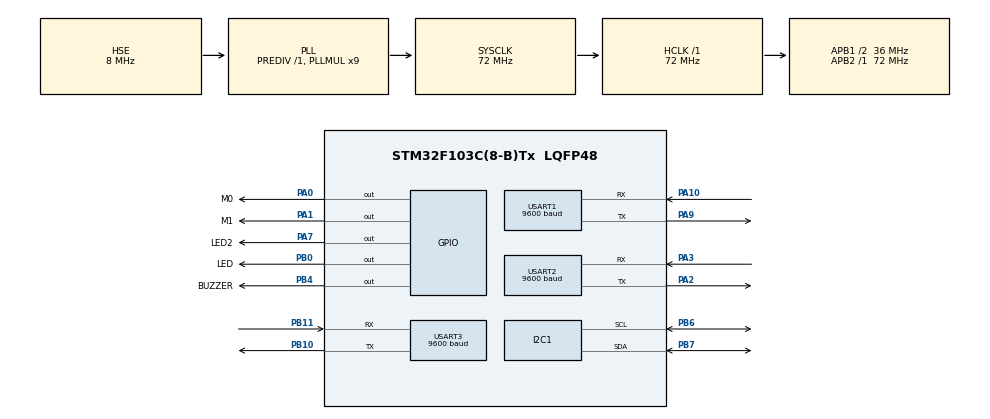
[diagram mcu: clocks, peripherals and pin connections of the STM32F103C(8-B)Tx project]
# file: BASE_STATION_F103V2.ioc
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Mcu.Family=STM32F1
Mcu.Name=STM32F103C(8-B)Tx
Mcu.Package=LQFP48
NVIC.PriorityGroup=NVIC_PRIORITYGROUP_4
NVIC.TIM3_IRQn=true\:0\:0\:false\:false\:true\:true\:true
NVIC.USART1_IRQn=true\:0\:0\:false\:false\:true\:true\:true
NVIC.USART2_IRQn=true\:0\:0\:false\:false\:true\:true\:true
NVIC.USART3_IRQn=true\:0\:0\:false\:false\:true\:true\:true
PA0-WKUP.GPIO_Label=M0
PA0-WKUP.Signal=GPIO_Output
PA1.GPIO_Label=M1
PA1.Signal=GPIO_Output
PA10.Mode=Asynchronous
PA10.Signal=USART1_RX
PA13.Mode=Serial_Wire
PA13.Signal=SYS_JTMS-SWDIO
PA14.Mode=Serial_Wire
PA14.Signal=SYS_JTCK-SWCLK
PA2.Mode=Asynchronous
PA2.Signal=USART2_TX
PA3.Mode=Asynchronous
PA3.Signal=USART2_RX
PA7.GPIO_Label=LED2
PA7.Signal=GPIO_Output
PA9.Mode=Asynchronous
PA9.Signal=USART1_TX
PB0.GPIO_Label=LED
PB0.Signal=GPIO_Output
PB10.Mode=Asynchronous
PB10.Signal=USART3_TX
PB11.Mode=Asynchronous
PB11.Signal=USART3_RX
PB4.GPIO_Label=BUZZER
PB4.Signal=GPIO_Output
PB6.Mode=I2C
PB6.Signal=I2C1_SCL
PB7.Mode=I2C
PB7.Signal=I2C1_SDA
PD0-OSC_IN.Mode=HSE-External-Oscillator
PD0-OSC_IN.Signal=RCC_OSC_IN
PD1-OSC_OUT.Mode=HSE-External-Oscillator
PD1-OSC_OUT.Signal=RCC_OSC_OUT
ProjectManager.HeapSize=0x200
ProjectManager.StackSize=0x400
ProjectManager.TargetToolchain=STM32CubeIDE
RCC.AHBFreq_Value=72000000
RCC.APB1CLKDivider=RCC_HCLK_DIV2
RCC.APB1Freq_Value=36000000
RCC.APB1TimFreq_Value=72000000
RCC.APB2Freq_Value=72000000
RCC.APB2TimFreq_Value=72000000
RCC.HCLKFreq_Value=72000000
RCC.PLLMUL=RCC_PLL_MUL9
RCC.PLLSourceVirtual=RCC_PLLSOURCE_HSE
RCC.SYSCLKFreq_VALUE=72000000
RCC.SYSCLKSource=RCC_SYSCLKSOURCE_PLLCLK
RCC.USBFreq_Value=72000000
TIM3.Period=69
TIM3.Prescaler=35999
USART1.BaudRate=9600
USART1.VirtualMode=VM_ASYNC
USART2.BaudRate=9600
USART2.VirtualMode=VM_ASYNC
USART3.BaudRate=9600
USART3.VirtualMode=VM_ASYNC
VP_TIM3_VS_ClockSourceINT.Mode=Internal
board=custom

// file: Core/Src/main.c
/* USER CODE BEGIN Header */
/**
  ******************************************************************************
  * @file           : main.c
  * @brief          : Main program body
  ******************************************************************************
  * @attention
  *
  * <h2><center>&copy; Copyright (c) 2021 STMicroelectronics.
  * All rights reserved.</center></h2>
  *
  * This software component is licensed by ST under BSD 3-Clause license,
  * the "License"; You may not use this file except in compliance with the
  * License. You may obtain a copy of the License at:
  *                        opensource.org/licenses/BSD-3-Clause
  *
  ******************************************************************************
  */
/* USER CODE END Header */
#include "main.h"

/* USER CODE BEGIN Includes */
#include "MAGNETO.h"
#include "stdio.h"
#include "math.h"
#include "string.h"
#include <stdlib.h>
#include "MPU-6050.h"
#include "nextion.h"
/* USER CODE END Includes */

/* USER CODE BEGIN PTD */
void Data_Parsing(void);
void Data_Convert(void);
void Data_ToNextion(void);
double deg2rad(float deg);
float Cal_distGPS(float lat, float lng, float ground_latt, float ground_lngg);
void finding_maxmin(void);
double rad2deg(float rad);
float GetAngle(float lat, float lng, float ground_latt, float ground_lngg);
float calcoor(float x);

char RX1_BUF[100] = {0};
char LAT[9] = {0};
char LONG[10] = {0};
char COOR[25] = {0};
char TIME[10] = {0};

float ground_lat = .0;
float ground_lng = .0;
int time = 0;

extern uint8_t c1;
extern uint8_t gps_size;

#define cal_num 150
float compass_val = .0;
float X = .0, Y = .0, Z = .0;
extern float ground_lat;
extern float ground_lng;
float EPH_lat = .0;
float EPH_lng = .0;
float PL_lat = .0;
float PL_lng = .0;

float R = 6378.1; // Radius of the earth in km
float dLat = .0; // deg2rad below
float dLon = .0;
float a = .0;
float c = .0;
float d = .0; // Distance in km
float distance = .0;
float EPH_distance = .0;
float PL_distance = .0;
float EPH_Angle = .0;
float PL_Angle = .0;

uint8_t mgn = 0;
uint8_t recal = 0;
uint8_t stop = 0;
uint8_t newrecord = 0;
uint8_t pause = 0;
uint8_t cont = 0;

extern uint8_t gps;

char ID = '\0';
char sn[2] = {0};
char lat1[10] = {0};
char lng1[10] = {0};
char alt[7] = {0};
char vlc[6] = {0};
char rollpitch[13] = {0};
char apg[1] = {0};
char mn[1] = {0};
uint8_t fall = 0;
uint8_t cal_dis = 0;
uint8_t GS_LC = 0;

extern uint32_t SystemCoreClock;
uint32_t Systemlock = 0;

float vlcf = .0, altf = .0;
int alti = 0, vlci = 0, EPHmax_alti = 0, EPHmax_vlci = 0 , EPHmin_vlci = 0, PLmax_alti = 0, PLmax_vlci = 0 , PLmin_vlci = 0;
int EPHalti = 0, EPHvlci = 0, PLalti = 0, PLvlci = 0, PLmin_alti = 1000, EPHmin_alti = 1000;
// PLmin_alti  EPHmin_alti

int16_t speedometer = 0;
/* USER CODE END PTD */

/* USER CODE BEGIN PD */
char RX2_BUF[80] = {0};
char NEXT_BUFF[100] = { 0 };
uint8_t RX2 = 0;

uint8_t ADDH = 0x6;
uint8_t ADDL = 0x4A;
uint8_t CHN = 0xA;
uint8_t MODE = 1;

void LORA_READ_PARAMETER(void);
void LORA_CONFG(uint8_t ADDH, uint8_t ADDL, uint8_t CHN, uint8_t MODE);
/* USER CODE END PD */

I2C_HandleTypeDef hi2c1;

TIM_HandleTypeDef htim3;

UART_HandleTypeDef huart1;
UART_HandleTypeDef huart2;
UART_HandleTypeDef huart3;

void SystemClock_Config(void);
static void MX_GPIO_Init(void);
static void MX_I2C1_Init(void);
static void MX_USART1_UART_Init(void);
static void MX_USART2_UART_Init(void);
static void MX_USART3_UART_Init(void);
static void MX_TIM3_Init(void);

int main(void)
{

  /* MCU Configuration--------------------------------------------------------*/

  /* Reset of all peripherals, Initializes the Flash interface and the Systick. */
  HAL_Init();

  /* Configure the system clock */
  SystemClock_Config();

  /* Initialize all configured peripherals */
  MX_GPIO_Init();
  MX_I2C1_Init();
  MX_USART1_UART_Init();
  MX_USART2_UART_Init();
  MX_USART3_UART_Init();
  MX_TIM3_Init();
  /* USER CODE BEGIN 2 */
  LORA_READ_PARAMETER();
    LORA_CONFG( ADDH, ADDL, CHN, MODE); // HIGH ADDRESS, LOW ADDRESS, CHANNEL, MODE (0 : TRANSPARENT, 1 : FIXED)
    MPU6050_Init();
    for(uint8_t i = 0 ; i < 8 ; i++){
  	  HAL_GPIO_TogglePin(GPIOB, GPIO_PIN_4);
  	  HAL_Delay(50);
    }
    //magneto_Init(cal_num);
    __HAL_UART_ENABLE_IT(&huart3, UART_IT_RXNE);
    HAL_TIM_Base_Start_IT(&htim3);
    __HAL_UART_ENABLE_IT(&huart2, UART_IT_RXNE);
   __HAL_UART_ENABLE_IT(&huart1, UART_IT_RXNE);
  /* USER CODE END 2 */

  /* Infinite loop */
  while (1)
  {

    /* USER CODE BEGIN 3 */
		if (mgn == 1) {
			compass_val = Read_compass();
			//NXT_SEND("t0", compass_val);
			NXT_SEND_VAL("page2.z0.val", (uint32_t) compass_val);
			compass_val -= 90;
			if (compass_val < 0)
				compass_val += 360;
			NXT_SEND_TXT("page2.t7.txt", (uint16_t) compass_val);
			mgn = 0;
		}
		if (recal == 1) {
			magneto_Init(cal_num);
			recal = 0;
		}
		if (RX2 == 1) {

			RX2 = 0;
			uint8_t m = 0;
			uint8_t go = 0;
			for (uint8_t k = 0; k < sizeof(RX2_BUF); k++) {
				if (RX2_BUF[k] == ':' && go == 0) {
					go = 1;
				}
				if (go == 1) {
					NEXT_BUFF[m] = RX2_BUF[k - 1];
					m++;
				}
				if (go == 1 && RX2_BUF[k] == '\n')
					break;
			}
			//if(NEXT_BUFF[0] != '\0' || NEXT_BUFF[1] || '\0' || NEXT_BUFF[2] != '\0')
			NXT_SEND_TXTBX("page1.t12.txt", NEXT_BUFF);

			for (uint8_t i = 0; i < sizeof(RX2_BUF); i++)
				RX2_BUF[i] = '\0';
			Data_Parsing();
		}
		if (cal_dis == 1) {
			if (ground_lat == .0 && ground_lng == .0) {
				NXT_SEND_TXTBX("page2.t4.txt", "veri yok");
				NXT_SEND_TXTBX("page2.t6.txt", "veri yok");
			} else if (EPH_lat == .0 && EPH_lng == .0) {
				NXT_SEND_TXTBX("page2.t4.txt", "veri yok");
			} else {
				EPH_distance = Cal_distGPS(EPH_lat, EPH_lng, ground_lat,
						ground_lng);
				EPH_Angle = GetAngle(EPH_lat, EPH_lng, ground_lat, ground_lng);
				NXT_SEND_VALFLOAT("page2.t4.txt", EPH_distance);
				NXT_SEND_VALFLOAT("page2.t3.txt", EPH_Angle);
				EPH_Angle += 90.0;
				if (EPH_Angle > 360) {
					EPH_Angle -= 360;
				}
				NXT_SEND_VAL("page2.z1.val", (uint32_t) EPH_Angle);
			}
			if ((PL_lat == .0 && PL_lng == .0) || GS_LC == 1) {
				NXT_SEND_TXTBX("page2.t6.txt", "veri yok");
			} else {
				PL_distance = Cal_distGPS(PL_lat, PL_lng, ground_lat,
						ground_lng);
				PL_Angle = GetAngle(PL_lat, PL_lng, ground_lat, ground_lng);
				NXT_SEND_VALFLOAT("page2.t6.txt", PL_distance);
				NXT_SEND_VALFLOAT("page2.t5.txt", PL_Angle);
				PL_Angle += 90.0;
				if (PL_Angle > 360) {
					PL_Angle -= 360;
				}
				NXT_SEND_VAL("page2.z2.val", (uint32_t) PL_Angle);
			}

			cal_dis = 0;
		}
		if (gps == 1) {
			for (uint8_t i = 0; i < gps_size; i++) {
				if (RX1_BUF[i] == '$' && RX1_BUF[i + 1] == 'G'
						&& RX1_BUF[i + 2] == 'P' && RX1_BUF[i + 3] == 'G'
						&& RX1_BUF[i + 4] == 'G' && RX1_BUF[i + 5] == 'A'
						&& RX1_BUF[i + 6] == ',') {
					uint8_t v = 0, pos1 = 0, pos2 = 0, pos3 = 0, pos4 = 0,
							pos5 = 0, ok1 = 0, ok2 = 0, ok3 = 0, ok4 = 0;
					for (uint8_t n = 0; n < sizeof(RX1_BUF); n++) {
						if (RX1_BUF[n] == ',' && n > i + 5)
							v++;
						if (v == 1 && ok1 == 0) {
							pos1 = n;
							ok1 = 1;
						}
						if (v == 2 && ok2 == 0) {
							pos2 = n;
							for (uint8_t count = 0; count < pos2 - pos1;
									count++)
								TIME[count] = RX1_BUF[pos1 + count + 1];
							ok2 = 1;
						}
						if (v == 3 && ok3 == 0) {
							pos3 = n;
							for (uint8_t count = 0; count < pos3 - pos2;
									count++)
								LAT[count] = RX1_BUF[pos2 + count + 1];
							ok3 = 1;
						}
						if (v == 4 && ok4 == 0) {
							pos4 = n;
							ok4 = 1;
						}
						if (v == 5) {
							pos5 = n;
							for (uint8_t count2 = 0; count2 < pos5 - pos4;
									count2++)
								LONG[count2] = RX1_BUF[pos4 + count2 + 1];

							strcpy(TIME, TIME);
							strcpy(LAT, LAT);
							strcpy(LONG, LONG);
							time = atof(TIME);
							ground_lat = calcoor(atof(LAT));
							ground_lng = calcoor(atof(LONG));
							sprintf(COOR, ":%2.7f:%2.7f\n", ground_lat,
									ground_lng);
							/*HAL_UART_Transmit(&huart3, (uint8_t*) COOR,
							 sizeof(COOR), 1000);*/
							uint32_t lat0next = 0;
							uint32_t lng0next = 0;
							lat0next = (uint32_t) (ground_lat * 10000000.0);
							lng0next = (uint32_t) (ground_lng * 10000000.0);
							NXT_SEND_VAL("page1.x8.val", lat0next);
							NXT_SEND_VAL("page1.x9.val", lng0next);
							cal_dis = 1;
							for (uint8_t c = 0; c < sizeof(RX1_BUF); c++)
								RX1_BUF[c] = '\0';
							break;
						}
					}
					break;
				}
			}
			gps_size = 0;
			gps = 0;
		}
	}
  /* USER CODE END 3 */
}

void SystemClock_Config(void)
{
  RCC_OscInitTypeDef RCC_OscInitStruct = {0};
  RCC_ClkInitTypeDef RCC_ClkInitStruct = {0};

  /** Initializes the RCC Oscillators according to the specified parameters
  * in the RCC_OscInitTypeDef structure.
  */
  RCC_OscInitStruct.OscillatorType = RCC_OSCILLATORTYPE_HSE;
  RCC_OscInitStruct.HSEState = RCC_HSE_ON;
  RCC_OscInitStruct.HSEPredivValue = RCC_HSE_PREDIV_DIV1;
  RCC_OscInitStruct.HSIState = RCC_HSI_ON;
  RCC_OscInitStruct.PLL.PLLState = RCC_PLL_ON;
  RCC_OscInitStruct.PLL.PLLSource = RCC_PLLSOURCE_HSE;
  RCC_OscInitStruct.PLL.PLLMUL = RCC_PLL_MUL9;
  if (HAL_RCC_OscConfig(&RCC_OscInitStruct) != HAL_OK)
  {
    Error_Handler();
  }
  /** Initializes the CPU, AHB and APB buses clocks
  */
  RCC_ClkInitStruct.ClockType = RCC_CLOCKTYPE_HCLK|RCC_CLOCKTYPE_SYSCLK
                              |RCC_CLOCKTYPE_PCLK1|RCC_CLOCKTYPE_PCLK2;
  RCC_ClkInitStruct.SYSCLKSource = RCC_SYSCLKSOURCE_PLLCLK;
  RCC_ClkInitStruct.AHBCLKDivider = RCC_SYSCLK_DIV1;
  RCC_ClkInitStruct.APB1CLKDivider = RCC_HCLK_DIV2;
  RCC_ClkInitStruct.APB2CLKDivider = RCC_HCLK_DIV1;

  if (HAL_RCC_ClockConfig(&RCC_ClkInitStruct, FLASH_LATENCY_2) != HAL_OK)
  {
    Error_Handler();
  }
}

static void MX_I2C1_Init(void)
{

  hi2c1.Instance = I2C1;
  hi2c1.Init.ClockSpeed = 100000;
  hi2c1.Init.DutyCycle = I2C_DUTYCYCLE_2;
  hi2c1.Init.OwnAddress1 = 0;
  hi2c1.Init.AddressingMode = I2C_ADDRESSINGMODE_7BIT;
  hi2c1.Init.DualAddressMode = I2C_DUALADDRESS_DISABLE;
  hi2c1.Init.OwnAddress2 = 0;
  hi2c1.Init.GeneralCallMode = I2C_GENERALCALL_DISABLE;
  hi2c1.Init.NoStretchMode = I2C_NOSTRETCH_DISABLE;
  if (HAL_I2C_Init(&hi2c1) != HAL_OK)
  {
    Error_Handler();
  }

}

static void MX_TIM3_Init(void)
{

  TIM_ClockConfigTypeDef sClockSourceConfig = {0};
  TIM_MasterConfigTypeDef sMasterConfig = {0};

  htim3.Instance = TIM3;
  htim3.Init.Prescaler = 35999;
  htim3.Init.CounterMode = TIM_COUNTERMODE_UP;
  htim3.Init.Period = 69;
  htim3.Init.ClockDivision = TIM_CLOCKDIVISION_DIV1;
  htim3.Init.AutoReloadPreload = TIM_AUTORELOAD_PRELOAD_DISABLE;
  if (HAL_TIM_Base_Init(&htim3) != HAL_OK)
  {
    Error_Handler();
  }
  sClockSourceConfig.ClockSource = TIM_CLOCKSOURCE_INTERNAL;
  if (HAL_TIM_ConfigClockSource(&htim3, &sClockSourceConfig) != HAL_OK)
  {
    Error_Handler();
  }
  sMasterConfig.MasterOutputTrigger = TIM_TRGO_RESET;
  sMasterConfig.MasterSlaveMode = TIM_MASTERSLAVEMODE_DISABLE;
  if (HAL_TIMEx_MasterConfigSynchronization(&htim3, &sMasterConfig) != HAL_OK)
  {
    Error_Handler();
  }

}

static void MX_USART1_UART_Init(void)
{

  huart1.Instance = USART1;
  huart1.Init.BaudRate = 9600;
  huart1.Init.WordLength = UART_WORDLENGTH_8B;
  huart1.Init.StopBits = UART_STOPBITS_1;
  huart1.Init.Parity = UART_PARITY_NONE;
  huart1.Init.Mode = UART_MODE_TX_RX;
  huart1.Init.HwFlowCtl = UART_HWCONTROL_NONE;
  huart1.Init.OverSampling = UART_OVERSAMPLING_16;
  if (HAL_UART_Init(&huart1) != HAL_OK)
  {
    Error_Handler();
  }

}

static void MX_USART2_UART_Init(void)
{

  huart2.Instance = USART2;
  huart2.Init.BaudRate = 9600;
  huart2.Init.WordLength = UART_WORDLENGTH_8B;
  huart2.Init.StopBits = UART_STOPBITS_1;
  huart2.Init.Parity = UART_PARITY_NONE;
  huart2.Init.Mode = UART_MODE_TX_RX;
  huart2.Init.HwFlowCtl = UART_HWCONTROL_NONE;
  huart2.Init.OverSampling = UART_OVERSAMPLING_16;
  if (HAL_UART_Init(&huart2) != HAL_OK)
  {
    Error_Handler();
  }

}

static void MX_USART3_UART_Init(void)
{

  huart3.Instance = USART3;
  huart3.Init.BaudRate = 9600;
  huart3.Init.WordLength = UART_WORDLENGTH_8B;
  huart3.Init.StopBits = UART_STOPBITS_1;
  huart3.Init.Parity = UART_PARITY_NONE;
  huart3.Init.Mode = UART_MODE_TX_RX;
  huart3.Init.HwFlowCtl = UART_HWCONTROL_NONE;
  huart3.Init.OverSampling = UART_OVERSAMPLING_16;
  if (HAL_UART_Init(&huart3) != HAL_OK)
  {
    Error_Handler();
  }

}

static void MX_GPIO_Init(void)
{
  GPIO_InitTypeDef GPIO_InitStruct = {0};

  /* GPIO Ports Clock Enable */
  __HAL_RCC_GPIOD_CLK_ENABLE();
  __HAL_RCC_GPIOA_CLK_ENABLE();
  __HAL_RCC_GPIOB_CLK_ENABLE();

  /*Configure GPIO pin Output Level */
  HAL_GPIO_WritePin(GPIOA, M0_Pin|M1_Pin|LED2_Pin, GPIO_PIN_RESET);

  /*Configure GPIO pin Output Level */
  HAL_GPIO_WritePin(GPIOB, LED_Pin|BUZZER_Pin, GPIO_PIN_RESET);

  /*Configure GPIO pins : M0_Pin M1_Pin LED2_Pin */
  GPIO_InitStruct.Pin = M0_Pin|M1_Pin|LED2_Pin;
  GPIO_InitStruct.Mode = GPIO_MODE_OUTPUT_PP;
  GPIO_InitStruct.Pull = GPIO_NOPULL;
  GPIO_InitStruct.Speed = GPIO_SPEED_FREQ_LOW;
  HAL_GPIO_Init(GPIOA, &GPIO_InitStruct);

  /*Configure GPIO pins : LED_Pin BUZZER_Pin */
  GPIO_InitStruct.Pin = LED_Pin|BUZZER_Pin;
  GPIO_InitStruct.Mode = GPIO_MODE_OUTPUT_PP;
  GPIO_InitStruct.Pull = GPIO_NOPULL;
  GPIO_InitStruct.Speed = GPIO_SPEED_FREQ_LOW;
  HAL_GPIO_Init(GPIOB, &GPIO_InitStruct);

}

/* USER CODE BEGIN 4 */
void LORA_CONFG(uint8_t ADDH, uint8_t ADDL, uint8_t CHN, uint8_t MODE)
{
	HAL_GPIO_WritePin(GPIOA, GPIO_PIN_0, SET);
	HAL_GPIO_WritePin(GPIOA, GPIO_PIN_1, SET);
	HAL_Delay(50);

	char cfg_buff[6] = {0};
	enum lora{Transparent, Fixed} mode;
	mode = MODE;

	cfg_buff[0] = 0xC0;  // header for saving paramater when power down C0
	cfg_buff[1] = ADDH;  // high address
	cfg_buff[2] = ADDL;  // low address
	cfg_buff[3] = 0x19;  // SPED (parity, baud, data rate)
	cfg_buff[4] = CHN;   // channel

	switch(mode){
	case Transparent:
		cfg_buff[5] = 0x44;  // option
		break;
	case Fixed:
		cfg_buff[5] = 0xC4;  // option
		break;
	default:
		cfg_buff[5] = 0x44;  // option
	}

	HAL_UART_Transmit(&huart2, (uint8_t*) cfg_buff, 6, 1000);

	HAL_Delay(25);
	HAL_GPIO_WritePin(GPIOA, GPIO_PIN_0, RESET);
	HAL_GPIO_WritePin(GPIOA, GPIO_PIN_1, RESET);
	HAL_Delay(25);
}

void LORA_READ_PARAMETER()
{
	HAL_GPIO_WritePin(GPIOA, GPIO_PIN_0, SET);
	HAL_GPIO_WritePin(GPIOA, GPIO_PIN_1, SET);
	HAL_Delay(50);

	char buff_read[6] = {0};
	buff_read[0] = 0xC1;
	buff_read[1] = 0xC1;
	buff_read[2] = 0xC1;

	HAL_UART_Transmit(&huart2, (uint8_t*) buff_read, 3, 1000);
	HAL_UART_Receive(&huart2, (uint8_t*) buff_read, 6, 1000);

	HAL_Delay(25);
	HAL_GPIO_WritePin(GPIOA, GPIO_PIN_0, RESET);
	HAL_GPIO_WritePin(GPIOA, GPIO_PIN_1, RESET);
	HAL_Delay(25);
}

void Data_Parsing(void) {
	uint8_t first = 0, second = 0, countstr = 0;
	for (uint8_t i = 0; i < sizeof(NEXT_BUFF); i++) {
		if (NEXT_BUFF[i] == ':') {
			first = second;
			second = i;
			countstr++;
			uint8_t countstr1 = 0;
			for (first++; first < second; first++) {
				switch (countstr) {
				case 2:
					sn[countstr1] = NEXT_BUFF[first];
					countstr1++;
					break;
				case 3:
					lat1[countstr1] = NEXT_BUFF[first];
					countstr1++;
					break;
				case 4:
					lng1[countstr1] = NEXT_BUFF[first];
					countstr1++;
					break;
				case 5:
					alt[countstr1] = NEXT_BUFF[first];
					countstr1++;
					break;
				case 6:
					vlc[countstr1] = NEXT_BUFF[first];
					countstr1++;
					break;
				case 7:
					rollpitch[countstr1] = NEXT_BUFF[first];
					countstr1++;
					break;
				case 8:
					apg[countstr1] = NEXT_BUFF[first];
					countstr1++;
					break;
				case 9:
					mn[countstr1] = NEXT_BUFF[first];
					countstr1++;
					break;
				}
			}
		}
	}

	ID = NEXT_BUFF[0];

	Data_Convert();
	for (uint8_t i = 0; i < sizeof(NEXT_BUFF); i++)
		NEXT_BUFF[i] = '\0';
}

void Data_Convert(void) {
	//finding_maxmin();

	if (ID == '0') {
		strcpy(lat1, lat1);
		strcpy(lng1, lng1);
		EPH_lat = atof(lat1);
		EPH_lng = atof(lng1);
	} else if (ID == '1') {
		strcpy(lat1, lat1);
		strcpy(lng1, lng1);
		PL_lat = atof(lat1);
		PL_lng = atof(lng1);
	}

	if(vlcf < 0){
		vlcf *= -1;
		fall = 1;
	}else fall = 0;

	speedometer = 336 + (int16_t)((vlcf / 300.0) * 225);
	if(speedometer > 360) speedometer -= 360;

	Data_ToNextion();
}

void Data_ToNextion(void) {

	if (EPH_lat != .0 && EPH_lng != .0) {	// EPHEMERISH son enlem, boylam verileri
		NXT_SEND_TXTBX("page3.t34.txt", lat1);
		NXT_SEND_TXTBX("page3.t35.txt", lng1);
	}
	if (PL_lat != .0 && PL_lng != .0) {		// PAYLOAD son enlem, boylam verileri
		NXT_SEND_TXTBX("page3.t36.txt", lat1);
		NXT_SEND_TXTBX("page3.t37.txt", lng1);
	}

	if (ID == '1') {
		NXT_SEND_TXTBX("page1.t14.txt", lat1);
		NXT_SEND_TXTBX("page1.t15.txt", lng1);
		NXT_SEND_TXTBX("page1.t16.txt", alt);

		NXT_SEND_SVAL("page3.x6.val", PLmax_vlci);
		NXT_SEND_SVAL("page3.x7.val", PLmin_vlci);
		NXT_SEND_SVAL("page3.x5.val", PLmax_alti);
		NXT_SEND_SVAL("page3.x11.val", PLmin_alti);

		NXT_SEND_SVAL("page1.c1.val", 1);
		NXT_SEND_SVAL("page1.c0.val", 0);
		NXT_SEND_SVAL("page1.z3.val", speedometer);
		if (fall == 1) {
			NXT_SEND_SVAL("page1.z3.pco", 31);
		} else {
			NXT_SEND_SVAL("page1.z3.pco", 63488);
		}

		NXT_SEND_SVAL("page1.x1.val", vlci);

	} else if (ID == '0') {
		NXT_SEND_TXTBX("page1.t8.txt", lat1);
		NXT_SEND_TXTBX("page1.t9.txt", lng1);
		NXT_SEND_TXTBX("page1.t13.txt", alt);

		NXT_SEND_SVAL("page3.x3.val", EPHmax_vlci);
		NXT_SEND_SVAL("page3.x4.val", EPHmin_vlci);
		NXT_SEND_SVAL("page3.x2.val", EPHmax_alti);
		NXT_SEND_SVAL("page3.x10.val", EPHmin_alti);  // PLmin_alti  EPHmin_alti

		NXT_SEND_SVAL("page1.c1.val", 0);
		NXT_SEND_SVAL("page1.c0.val", 1);
		NXT_SEND_SVAL("page1.z4.val", speedometer);
		if (fall == 1) {
			NXT_SEND_SVAL("page1.z4.pco", 31);
		} else {
			NXT_SEND_SVAL("page1.z4.pco", 63488);
		}

		NXT_SEND_SVAL("page1.x0.val", vlci);

		if (*apg == '1') {
			NXT_SEND_SVAL("page1.t10.bco", 63488);
		}
		if (*mn == '1') {
			NXT_SEND_SVAL("page1.t11.bco", 63488);
		}

	}

	ID = '\0';

}

void finding_maxmin(void) {
	strcpy(vlc, vlc);
	vlcf = atof(vlc);
	vlci = (int) (vlcf * 100.0);
	strcpy(alt, alt);
	altf = atof(alt);
	alti = (int) (altf * 100.0);
	if (ID == '0') {
		if (vlci > EPHmax_vlci)
			EPHmax_vlci = vlci;
		if (vlci < EPHmin_vlci)
			EPHmin_vlci = vlci;
		if (alti > EPHmax_alti)
			EPHmax_alti = alti;
		if (alti < EPHmin_alti)
			EPHmin_alti = alti;
	}
	else if (ID == '1') {
		if (vlci > PLmax_vlci)
			PLmax_vlci = vlci;
		if (vlci < PLmin_vlci)
			PLmin_vlci = vlci;
		if (alti > PLmax_alti)
			PLmax_alti = alti;
		if (alti < PLmin_alti)
			PLmin_alti = alti;
	}
}

double deg2rad(float deg) {
	double pi = 2 * acos(0.0);
	return deg * (pi / 180);
}

double rad2deg(float rad)
{
    double pi = 2 * acos(0.0);
    return (rad * 180 / pi);
}

float Cal_distGPS(float lat, float lng, float ground_latt, float ground_lngg) {
	dLat = deg2rad(lat - ground_latt); // deg2rad below
	dLon = deg2rad(lng - ground_lngg);
	a = sin(dLat / 2) * sin(dLat / 2)
			+ cos(deg2rad(lat)) * cos(deg2rad(ground_latt)) * sin(dLon / 2)
					* sin(dLon / 2);
	c = 2 * atan2(sqrt(a), sqrt(1 - a));
	d = R * c; // Distance in km
	distance = d * 1000;
	return distance;
}

float GetAngle(float lat, float lng, float ground_latt, float ground_lngg) {
	float Org_Enlem = lat;
	float Org_Lng = ground_lngg;

	float distance1 = Cal_distGPS(Org_Enlem, Org_Lng, lat, lng);
	float distance2 = Cal_distGPS(ground_latt, ground_lngg, Org_Enlem, Org_Lng);

	float alfa = rad2deg(atan2(distance1, distance2));
	if (lat == ground_latt && lng == ground_lngg) {
		alfa = 0;
		//cout << "degree: " << alfa << endl;
	} else if (lat == ground_latt && lng > ground_lngg) {
		alfa = 0;
		//cout << "degree: " << alfa << endl;
	} else if (lat == ground_latt && lng < ground_lngg) {
		alfa = 180;
		//cout << "degree: " << alfa << endl;
	} else if (lat > ground_latt && lng == ground_lngg) {
		alfa = 90;
		//cout << "degree: " << alfa << endl;
	} else if (lat > ground_latt && lng == ground_lngg) {
		alfa = 270;
		//cout << "degree: " << alfa << endl;
	} else if (lat > ground_latt && lng > ground_lngg) {
		//cout << "degree: " << alfa << endl;
	} else if (lat < ground_latt && lng > ground_lngg) {
		alfa = 180 - alfa;
		//cout << "degree: " << alfa << endl;
	} else if (lat > ground_latt && lng < ground_lngg) {
		alfa = 360 - alfa;
		//cout << "degree: " << alfa << endl;
	} else if (lat < ground_latt && lng < ground_lngg) {
		alfa = 180 + alfa;
		//cout << "degree: " << alfa << endl;
	}

	alfa -= 90.0;

	if (alfa < 0)
		alfa += 360;
	return alfa;
}

float calcoor(float x)
{
	float a = (int)x / 100;
	float b = (x - (a * 100.0)) / 60.0;
	return a+b;
}
/* USER CODE END 4 */

void Error_Handler(void)
{
}

/************************ (C) COPYRIGHT STMicroelectronics *****END OF FILE****/
